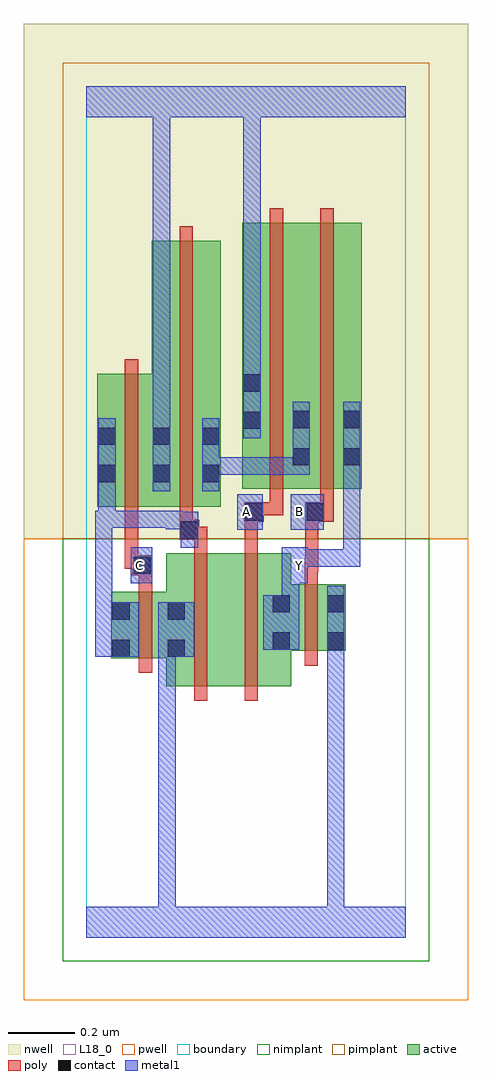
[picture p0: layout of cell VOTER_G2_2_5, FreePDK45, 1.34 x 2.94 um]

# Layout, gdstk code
import gdstk
lib = gdstk.Library(unit=1e-6, precision=1e-09)
def R(c, l, rs):  # rectangles x0, y0, x1, y1
    for r in rs: c.add(gdstk.rectangle(r[:2], r[2:], *l))
active = (1, 0)
pwell = (2, 0)
nwell = (3, 0)
nimplant = (4, 0)
pimplant = (5, 0)
poly = (9, 0)
contact = (10, 0)
metal1 = (11, 0)
L18_0 = (18, 0)
boundary = (235, 0)

voter_g2_2_5 = lib.new_cell('VOTER_G2_2_5')
R(voter_g2_2_5, active, [(0.24,0.756,0.42,1.156), (0.24,0.756,0.3,1.012), (0.42,0.756,0.616,1.156), (0.556,0.756,0.616,1.062), (0.074,0.84,0.134,1.04), (0.074,0.84,0.3,1.04), (0.556,0.862,0.78,1.062), (0.72,0.862,0.78,1.062), (0.032,1.296,0.092,1.644), (0.032,1.296,0.256,1.696), (0.196,1.296,0.404,2.096), (0.196,1.296,0.256,1.644), (0.344,1.296,0.404,2.044), (0.468,1.35,0.528,2.044), (0.468,1.35,0.676,2.15), (0.616,1.35,0.676,2.044), (0.616,1.35,0.828,2.15), (0.768,1.35,0.828,2.044)])
R(voter_g2_2_5, pwell, [(-0.188,-0.188,1.148,1.2)])
R(voter_g2_2_5, nwell, [(-0.188,1.2,1.148,2.748)])
R(voter_g2_2_5, nimplant, [(-0.072,-0.072,1.032,1.2)])
R(voter_g2_2_5, pimplant, [(-0.072,1.2,1.032,2.632)])
R(voter_g2_2_5, poly, [(0.324,0.712,0.364,1.2), (0.476,0.712,0.516,1.2), (0.158,0.796,0.198,1.084), (0.656,0.818,0.696,1.106), (0.158,1.044,0.198,1.13), (0.656,1.066,0.696,1.142), (0.138,1.09,0.198,1.15), (0.656,1.102,0.698,1.142), (0.658,1.102,0.698,1.29), (0.116,1.11,0.156,1.292), (0.116,1.11,0.178,1.15), (0.138,1.11,0.178,1.15), (0.324,1.16,0.364,1.236), (0.476,1.16,0.516,1.29), (0.28,1.196,0.34,1.256), (0.3,1.196,0.34,1.236), (0.3,1.196,0.364,1.236), (0.28,1.216,0.32,1.292), (0.474,1.25,0.534,1.31), (0.658,1.25,0.744,1.31), (0.116,1.252,0.156,1.74), (0.28,1.252,0.32,2.14), (0.494,1.27,0.534,1.31), (0.494,1.27,0.592,1.31), (0.552,1.27,0.592,1.346), (0.704,1.27,0.744,1.346), (0.552,1.306,0.592,2.194), (0.704,1.306,0.744,2.194)])
R(voter_g2_2_5, contact, [(0.078,0.844,0.13,0.896), (0.244,0.844,0.296,0.896), (0.56,0.866,0.612,0.918), (0.724,0.866,0.776,0.918), (0.078,0.956,0.13,1.008), (0.244,0.956,0.296,1.008), (0.56,0.978,0.612,1.03), (0.724,0.978,0.776,1.03), (0.142,1.094,0.194,1.146), (0.284,1.2,0.336,1.252), (0.478,1.254,0.53,1.306), (0.662,1.254,0.714,1.306), (0.036,1.37,0.088,1.422), (0.2,1.37,0.252,1.422), (0.348,1.37,0.4,1.422), (0.62,1.42,0.672,1.472), (0.772,1.42,0.824,1.472), (0.036,1.482,0.088,1.534), (0.2,1.482,0.252,1.534), (0.348,1.482,0.4,1.534), (0.472,1.53,0.524,1.582), (0.62,1.532,0.672,1.584), (0.772,1.532,0.824,1.584), (0.472,1.642,0.524,1.694)])
R(voter_g2_2_5, metal1, [(0,0,0.96,0.092), (0.216,0.04,0.268,0.092), (0.216,0.04,0.268,0.092), (0.216,0.04,0.268,0.896), (0.724,0.04,0.776,0.092), (0.724,0.04,0.776,0.092), (0.724,0.04,0.776,0.092), (0.724,0.04,0.776,0.092), (0.724,0.04,0.776,0.092), (0.724,0.04,0.776,0.092), (0.724,0.04,0.776,0.89), (0.724,0.838,0.776,1.058), (0.724,0.838,0.776,0.89), (0.724,0.838,0.776,0.89), (0.724,0.838,0.776,0.89), (0.724,0.838,0.776,0.89), (0.724,0.838,0.776,0.89), (0.724,0.838,0.776,0.89), (0.724,0.838,0.776,0.89), (0.724,0.838,0.776,0.89), (0.724,0.838,0.776,0.89), (0.724,0.838,0.776,0.89), (0.026,0.844,0.158,1.008), (0.216,0.844,0.268,0.896), (0.216,0.844,0.268,0.896), (0.216,0.844,0.268,0.896), (0.216,0.844,0.268,0.896), (0.216,0.844,0.268,0.896), (0.216,0.844,0.268,0.896), (0.216,0.844,0.268,0.896), (0.216,0.844,0.268,0.896), (0.216,0.844,0.268,0.896), (0.216,0.844,0.268,0.896), (0.216,0.844,0.324,1.008), (0.532,0.866,0.64,1.03), (0.026,0.956,0.078,1.284), (0.026,0.956,0.078,1.008), (0.026,0.956,0.078,1.008), (0.588,0.978,0.64,1.118), (0.134,1.066,0.198,1.174), (0.588,1.066,0.666,1.174), (0.614,1.116,0.824,1.168), (0.772,1.116,0.824,1.444), (0.772,1.116,0.824,1.168), (0.772,1.116,0.824,1.168), (0.772,1.116,0.824,1.168), (0.772,1.116,0.824,1.168), (0.772,1.116,0.824,1.168), (0.284,1.172,0.336,1.28), (0.454,1.226,0.53,1.334), (0.614,1.226,0.714,1.334), (0.238,1.228,0.336,1.28), (0.238,1.228,0.29,1.284), (0.026,1.232,0.088,1.284), (0.036,1.232,0.088,1.284), (0.036,1.232,0.088,1.284), (0.036,1.232,0.29,1.284), (0.036,1.232,0.088,1.394), (0.036,1.342,0.088,1.562), (0.2,1.342,0.252,1.562), (0.348,1.342,0.4,1.562), (0.348,1.392,0.4,1.444), (0.348,1.392,0.4,1.444), (0.348,1.392,0.556,1.444), (0.504,1.392,0.556,1.444), (0.504,1.392,0.672,1.444), (0.62,1.392,0.672,1.612), (0.772,1.392,0.824,1.612), (0.472,1.502,0.524,1.722), (0.2,1.51,0.252,2.52), (0.472,1.67,0.524,1.722), (0.472,1.67,0.524,1.722), (0.472,1.67,0.524,2.52), (0,2.468,0.96,2.56), (0.2,2.468,0.252,2.52), (0.2,2.468,0.252,2.52), (0.2,2.468,0.252,2.52), (0.2,2.468,0.252,2.52), (0.2,2.468,0.252,2.52), (0.2,2.468,0.252,2.52), (0.2,2.468,0.252,2.52), (0.2,2.468,0.252,2.52), (0.472,2.468,0.524,2.52), (0.472,2.468,0.524,2.52), (0.472,2.468,0.524,2.52), (0.472,2.468,0.524,2.52), (0.472,2.468,0.524,2.52), (0.472,2.468,0.524,2.52)])
R(voter_g2_2_5, L18_0, [(0,0,0.96,0.092), (0.216,0.04,0.268,0.092), (0.216,0.04,0.268,0.092), (0.216,0.04,0.268,0.896), (0.724,0.04,0.776,0.092), (0.724,0.04,0.776,0.092), (0.724,0.04,0.776,0.092), (0.724,0.04,0.776,0.092), (0.724,0.04,0.776,0.092), (0.724,0.04,0.776,0.092), (0.724,0.04,0.776,0.89), (0.724,0.838,0.776,0.89), (0.724,0.838,0.776,0.89), (0.724,0.838,0.776,0.89), (0.724,0.838,0.776,0.89), (0.724,0.838,0.776,0.89), (0.724,0.838,0.776,0.89), (0.724,0.838,0.776,0.89), (0.724,0.838,0.776,0.89), (0.724,0.838,0.776,0.89), (0.724,0.838,0.776,0.89), (0.724,0.838,0.776,1.058), (0.216,0.844,0.268,0.896), (0.216,0.844,0.268,0.896), (0.216,0.844,0.268,0.896), (0.216,0.844,0.268,0.896), (0.216,0.844,0.268,0.896), (0.216,0.844,0.268,0.896), (0.216,0.844,0.268,0.896), (0.216,0.844,0.268,0.896), (0.216,0.844,0.268,0.896), (0.216,0.844,0.268,0.896), (0.216,0.844,0.324,1.008), (0.532,0.866,0.64,1.03), (0.588,0.978,0.64,1.118), (0.134,1.066,0.198,1.174), (0.588,1.066,0.666,1.174), (0.134,1.094,0.186,1.146), (0.614,1.094,0.666,1.146), (0.614,1.116,0.824,1.168), (0.772,1.116,0.824,1.168), (0.772,1.116,0.824,1.168), (0.772,1.116,0.824,1.168), (0.772,1.116,0.824,1.168), (0.772,1.116,0.824,1.168), (0.772,1.116,0.824,1.444), (0.454,1.226,0.53,1.334), (0.614,1.226,0.714,1.334), (0.454,1.254,0.506,1.306), (0.614,1.254,0.666,1.306), (0.2,1.342,0.252,1.562), (0.772,1.392,0.824,1.612), (0.472,1.502,0.524,1.722), (0.2,1.51,0.252,2.52), (0.472,1.67,0.524,1.722), (0.472,1.67,0.524,1.722), (0.472,1.67,0.524,2.52), (0,2.468,0.96,2.56), (0.2,2.468,0.252,2.52), (0.2,2.468,0.252,2.52), (0.2,2.468,0.252,2.52), (0.2,2.468,0.252,2.52), (0.2,2.468,0.252,2.52), (0.2,2.468,0.252,2.52), (0.2,2.468,0.252,2.52), (0.2,2.468,0.252,2.52), (0.472,2.468,0.524,2.52), (0.472,2.468,0.524,2.52), (0.472,2.468,0.524,2.52), (0.472,2.468,0.524,2.52), (0.472,2.468,0.524,2.52), (0.472,2.468,0.524,2.52)])
R(voter_g2_2_5, boundary, [(0,0,0.96,2.56)])
voter_g2_2_5.add(gdstk.Label('A', (0.48,1.28), layer=11, texttype=0))
voter_g2_2_5.add(gdstk.Label('B', (0.64,1.28), layer=11, texttype=0))
voter_g2_2_5.add(gdstk.Label('C', (0.16,1.12), layer=11, texttype=0))
voter_g2_2_5.add(gdstk.Label('Y', (0.64,1.12), layer=11, texttype=0))

lib.write_gds('VOTER_G2_2_5.gds')
